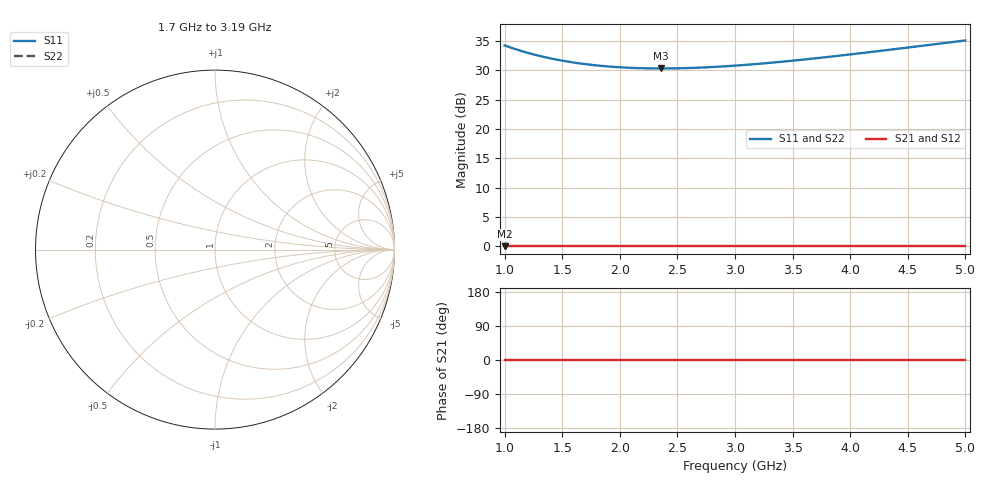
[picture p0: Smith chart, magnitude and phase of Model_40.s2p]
# GHZ S RI R 50
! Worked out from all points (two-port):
!   401 points, 1 GHz to 5 GHz, reference 50 ohm
!   highest |S21| = 0.00 dB at 1 GHz (marker M1); lowest = 0.0 dB at 1 GHz (marker M2)
!   |S21| within 3 dB of the highest: start of sweep to end of sweep
!   lowest |S11| = 30.3 dB at 2.36 GHz (marker M3)
!   |S11| at or under -10 dB: nowhere
!   |S22| runs from 30.3 to 35.1 dB; largest |S21 - S12| = 0
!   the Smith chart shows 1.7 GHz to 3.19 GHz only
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1  51.56 0  1 0  1 0  51.56 0
1.02  50.72 0  1 0  1 0  50.72 0
1.15  46.05 0  1 0  1 0  46.05 0
1.22  44.01 0  1 0  1 0  44.01 0
1.3  42.02 0  1 0  1 0  42.02 0
1.38  40.32 0  1 0  1 0  40.32 0
1.47  38.7 0  1 0  1 0  38.7 0
1.57  37.22 0  1 0  1 0  37.22 0
1.67  36.02 0  1 0  1 0  36.02 0
1.82  34.64 0  1 0  1 0  34.64 0
1.98  33.65 0  1 0  1 0  33.65 0
2.15  33.03 0  1 0  1 0  33.03 0
2.34  32.78 0  1 0  1 0  32.78 0
2.36  32.78 0  1 0  1 0  32.78 0
2.67  33.25 0  1 0  1 0  33.25 0
3  34.65 0  1 0  1 0  34.65 0
3.33  36.82 0  1 0  1 0  36.82 0
3.67  39.75 0  1 0  1 0  39.75 0
4  43.19 0  1 0  1 0  43.19 0
4.34  47.31 0  1 0  1 0  47.31 0
4.64  51.4 0  1 0  1 0  51.4 0
5  56.84 0  1 0  1 0  56.84 0
